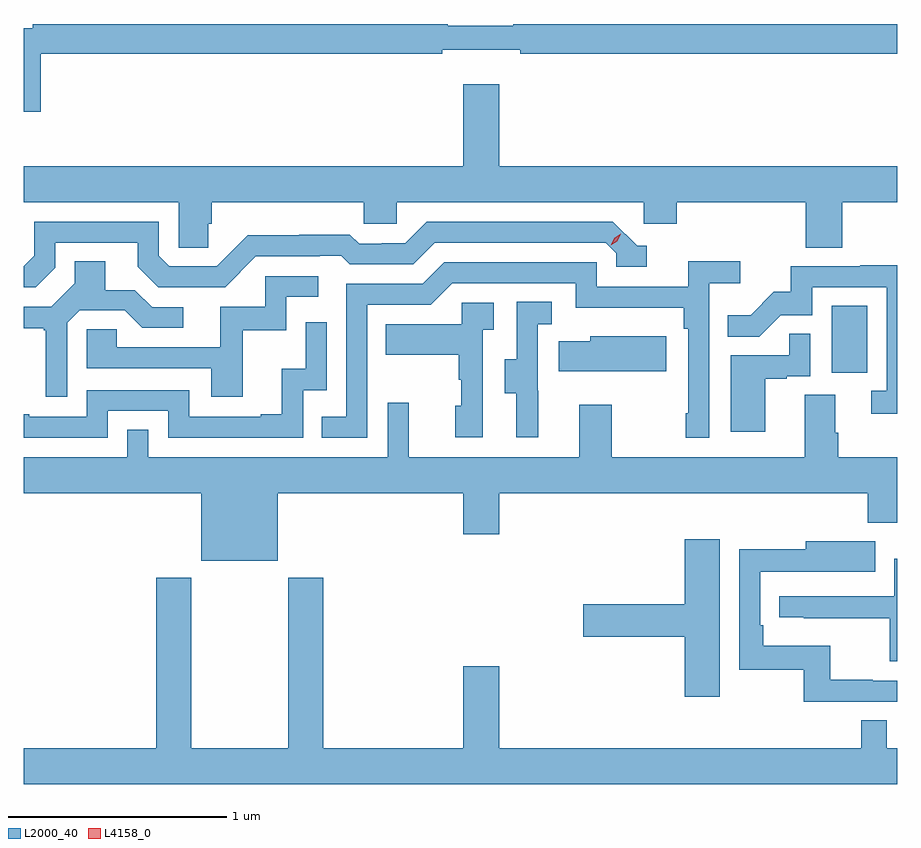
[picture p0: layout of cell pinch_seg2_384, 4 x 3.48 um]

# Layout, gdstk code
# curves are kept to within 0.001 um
import gdstk
lib = gdstk.Library(unit=1e-6, precision=1e-09)
def R(c, l, rs):  # rectangles x0, y0, x1, y1
    for r in rs: c.add(gdstk.rectangle(r[:2], r[2:], *l))
def P(c, l, *ps):  # polygons
    for p in ps: c.add(gdstk.Polygon(p, *l))
L2000_40 = (2000, 40)
L4158_0 = (4158, 0)

pinch_seg2_384 = lib.new_cell('pinch_seg2_384')
R(pinch_seg2_384, L2000_40, [(981.878,617.55,982.042,617.857)])
P(pinch_seg2_384, L2000_40, [(978.257,619.012),(980.096,619.012),(980.096,619.031),(980.452,619.031),(980.452,619.012),(982.179,619.012),(982.179,619.148),(980.42,619.148),(980.42,619.141),(980.12,619.141),(980.12,619.148),(978.22,619.148),(978.22,619.128),(978.179,619.128),(978.179,618.747),(978.257,618.747)],
  [(979.025,618.234),(979.04,618.234),(979.04,618.332),(979.737,618.332),(979.737,618.234),(979.887,618.234),(979.887,618.332),(981.018,618.332),(981.018,618.234),(981.17,618.234),(981.17,618.332),(981.761,618.332),(981.761,618.124),(981.926,618.124),(981.926,618.332),(982.179,618.332),(982.179,618.496),(980.356,618.496),(980.356,618.871),(980.192,618.871),(980.192,618.496),(978.179,618.496),(978.179,618.332),(978.888,618.332),(978.888,618.124),(979.025,618.124)],
  [(978.324,618.033),(978.324,618.147),(978.701,618.147),(978.701,618.037),(978.795,617.943),(979.101,617.943),(979.242,618.084),(979.535,618.084),(979.535,618.087),(979.634,618.087),(979.673,618.048),(979.962,618.048),(980.061,618.147),(980.844,618.147),(980.892,618.099),(980.892,618.036),(981.031,618.036),(981.031,618.132),(980.988,618.132),(980.877,618.243),(980.024,618.243),(979.925,618.144),(979.818,618.144),(979.818,618.141),(979.715,618.141),(979.673,618.184),(979.44,618.184),(979.44,618.181),(979.204,618.181),(979.062,618.039),(978.846,618.039),(978.798,618.087),(978.798,618.243),(978.228,618.243),(978.228,618.087),(978.179,618.039),(978.179,617.943),(978.234,617.943)],
  [(979.752,617.862),(980.043,617.862),(980.142,617.961),(980.706,617.961),(980.706,617.849),(981.202,617.849),(981.202,617.753),(981.222,617.753),(981.222,617.365),(981.21,617.365),(981.21,617.253),(981.318,617.253),(981.318,617.96),(981.46,617.96),(981.46,618.062),(981.221,618.062),(981.221,617.946),(980.802,617.946),(980.802,618.057),(980.105,618.057),(980.006,617.958),(979.656,617.958),(979.656,617.349),(979.543,617.349),(979.543,617.253),(979.752,617.253)],
  [(978.378,617.781),(978.435,617.838),(978.641,617.838),(978.722,617.757),(978.91,617.757),(978.91,617.85),(978.768,617.85),(978.688,617.93),(978.553,617.93),(978.553,618.062),(978.413,618.062),(978.413,617.96),(978.306,617.853),(978.179,617.853),(978.179,617.756),(978.27,617.756),(978.27,617.745),(978.281,617.745),(978.281,617.442),(978.378,617.442)],
  [(982.179,618.044),(982.009,618.044),(982.009,618.039),(981.691,618.039),(981.691,617.922),(981.614,617.922),(981.507,617.815),(981.403,617.815),(981.403,617.716),(981.547,617.716),(981.645,617.814),(981.789,617.814),(981.789,617.943),(982.131,617.943),(982.131,617.469),(982.059,617.469),(982.059,617.364),(982.179,617.364)],
  [(979.181,617.745),(979.38,617.745),(979.38,617.898),(979.528,617.898),(979.528,617.994),(979.284,617.994),(979.284,617.853),(979.079,617.853),(979.079,617.667),(978.605,617.667),(978.605,617.751),(978.468,617.751),(978.468,617.571),(979.037,617.571),(979.037,617.442),(979.181,617.442)],
  [(980.534,617.469),(980.532,617.469),(980.532,617.773),(980.596,617.773),(980.596,617.876),(980.436,617.876),(980.436,617.613),(980.381,617.613),(980.381,617.458),(980.435,617.458),(980.435,617.256),(980.534,617.256)],
  [(980.28,617.747),(980.332,617.747),(980.332,617.871),(980.184,617.871),(980.184,617.773),(979.837,617.773),(979.837,617.633),(980.172,617.633),(980.172,617.519),(980.182,617.519),(980.182,617.4),(980.156,617.4),(980.156,617.256),(980.28,617.256)],
  [(978.564,617.376),(978.84,617.376),(978.84,617.253),(979.458,617.253),(979.458,617.472),(979.566,617.472),(979.566,617.782),(979.47,617.782),(979.47,617.57),(979.361,617.57),(979.361,617.362),(979.265,617.362),(979.265,617.349),(978.936,617.349),(978.936,617.472),(978.468,617.472),(978.468,617.349),(978.205,617.349),(978.205,617.362),(978.179,617.362),(978.179,617.253),(978.564,617.253)],
  [(981.574,617.523),(981.674,617.523),(981.674,617.535),(981.78,617.535),(981.78,617.729),(981.685,617.729),(981.685,617.631),(981.416,617.631),(981.416,617.28),(981.574,617.28)],
  [(981.121,617.719),(980.772,617.719),(980.772,617.695),(980.629,617.695),(980.629,617.558),(981.121,617.558)],
  [(979.342,617),(980.192,617),(980.192,616.812),(980.356,616.812),(980.356,617),(982.043,617),(982.043,616.865),(982.179,616.865),(982.179,617.164),(981.908,617.164),(981.908,617.276),(981.895,617.276),(981.895,617.45),(981.755,617.45),(981.755,617.164),(980.871,617.164),(980.871,617.404),(980.723,617.404),(980.723,617.164),(979.943,617.164),(979.943,617.413),(979.845,617.413),(979.845,617.164),(978.75,617.164),(978.75,617.291),(978.654,617.291),(978.654,617.164),(978.179,617.164),(978.179,617),(978.992,617),(978.992,616.691),(979.342,616.691)],
  [(981.367,616.789),(981.206,616.789),(981.206,616.49),(980.742,616.49),(980.742,616.343),(981.206,616.343),(981.206,616.068),(981.367,616.068)],
  [(982.179,616.14),(982.067,616.14),(982.067,616.145),(981.871,616.145),(981.871,616.3),(981.566,616.3),(981.566,616.396),(981.552,616.396),(981.552,616.641),(981.865,616.641),(981.865,616.64),(982.079,616.64),(982.079,616.78),(981.761,616.78),(981.761,616.742),(981.456,616.742),(981.456,616.191),(981.75,616.191),(981.75,616.044),(982.179,616.044)],
  [(982.179,616.699),(982.164,616.699),(982.164,616.527),(981.639,616.527),(981.639,616.431),(981.751,616.431),(981.751,616.426),(982.144,616.426),(982.144,616.23),(982.179,616.23)],
  [(982.179,615.832),(982.131,615.832),(982.131,615.959),(982.015,615.959),(982.015,615.832),(980.356,615.832),(980.356,616.207),(980.192,616.207),(980.192,615.832),(979.55,615.832),(979.55,616.612),(979.39,616.612),(979.39,615.832),(978.945,615.832),(978.945,616.612),(978.785,616.612),(978.785,615.832),(978.179,615.832),(978.179,615.668),(982.179,615.668)])
P(pinch_seg2_384, L4158_0, [(980.866,618.134),(980.866,618.135),(980.882,618.167),(980.913,618.187),(980.913,618.187),(980.913,618.187),(980.897,618.154),(980.866,618.134)])

lib.write_gds('pinch_seg2_384.gds')
